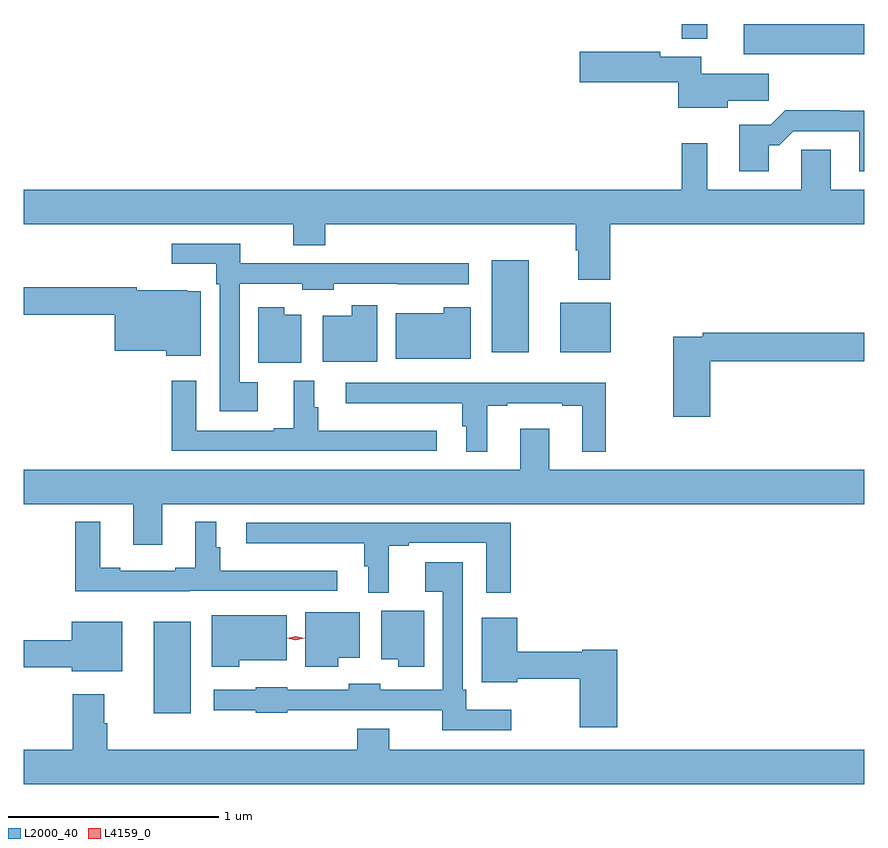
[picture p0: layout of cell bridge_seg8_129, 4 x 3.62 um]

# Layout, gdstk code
import gdstk
lib = gdstk.Library(unit=1e-6, precision=1e-09)
def R(c, l, rs):  # rectangles x0, y0, x1, y1
    for r in rs: c.add(gdstk.rectangle(r[:2], r[2:], *l))
def P(c, l, *ps):  # polygons
    for p in ps: c.add(gdstk.Polygon(p, *l))
L2000_40 = (2000, 40)
L4159_0 = (4159, 0)

bridge_seg8_129 = lib.new_cell('bridge_seg8_129')
R(bridge_seg8_129, L2000_40, [(853.952,1123.496,854.128,1123.933), (855.56,1125.215,855.736,1125.652), (855.887,1125.215,856.126,1125.451), (856.76,1126.634,857.333,1126.777), (856.464,1126.707,856.585,1126.777)])
P(bridge_seg8_129, L2000_40, [(856.684,1126.411),(856.879,1126.411),(856.879,1126.54),(856.558,1126.54),(856.558,1126.621),(856.362,1126.621),(856.362,1126.646),(855.978,1126.646),(855.978,1126.499),(856.448,1126.499),(856.448,1126.379),(856.684,1126.379)],
  [(856.879,1126.199),(856.928,1126.199),(856.995,1126.266),(857.309,1126.266),(857.309,1126.077),(857.333,1126.077),(857.333,1126.364),(857.213,1126.364),(857.213,1126.367),(856.958,1126.367),(856.888,1126.297),(856.739,1126.297),(856.739,1126.077),(856.879,1126.077)],
  [(856.124,1125.824),(857.333,1125.824),(857.333,1125.988),(857.173,1125.988),(857.173,1126.178),(857.034,1126.178),(857.034,1125.988),(856.585,1125.988),(856.585,1126.21),(856.464,1126.21),(856.464,1125.988),(853.333,1125.988),(853.333,1125.824),(854.615,1125.824),(854.615,1125.725),(854.768,1125.725),(854.768,1125.824),(855.959,1125.824),(855.959,1125.701),(855.971,1125.701),(855.971,1125.561),(856.124,1125.561)],
  [(854.446,1125.073),(854.361,1125.073),(854.361,1125.54),(854.658,1125.54),(854.658,1125.512),(854.808,1125.512),(854.808,1125.54),(855.112,1125.54),(855.112,1125.539),(855.451,1125.539),(855.451,1125.638),(854.364,1125.638),(854.364,1125.732),(854.037,1125.732),(854.037,1125.636),(854.249,1125.636),(854.249,1125.539),(854.265,1125.539),(854.265,1124.933),(854.446,1124.933)],
  [(854.176,1125.401),(854.175,1125.401),(854.175,1125.504),(854.112,1125.504),(854.112,1125.511),(853.87,1125.511),(853.87,1125.523),(853.333,1125.523),(853.333,1125.394),(853.766,1125.394),(853.766,1125.221),(854.01,1125.221),(854.01,1125.197),(854.176,1125.197)],
  [(855.016,1125.439),(854.894,1125.439),(854.894,1125.388),(854.756,1125.388),(854.756,1125.17),(855.016,1125.17)],
  [(855.46,1125.43),(855.331,1125.43),(855.331,1125.4),(855.104,1125.4),(855.104,1125.185),(855.46,1125.185)],
  [(854.653,1125.394),(854.572,1125.394),(854.572,1125.43),(854.45,1125.43),(854.45,1125.164),(854.653,1125.164)],
  [(856.601,1125.172),(857.333,1125.172),(857.333,1125.308),(856.564,1125.308),(856.564,1125.288),(856.423,1125.288),(856.423,1124.907),(856.601,1124.907)],
  [(855.298,1124.842),(854.735,1124.842),(854.735,1124.952),(854.716,1124.952),(854.716,1125.079),(854.618,1125.079),(854.618,1124.854),(854.522,1124.854),(854.522,1124.841),(854.154,1124.841),(854.154,1125.079),(854.038,1125.079),(854.038,1124.745),(855.298,1124.745)],
  [(855.538,1124.961),(855.634,1124.961),(855.634,1124.973),(855.896,1124.973),(855.896,1124.961),(855.992,1124.961),(855.992,1124.741),(856.102,1124.741),(856.102,1125.07),(855.564,1125.07),(855.564,1125.069),(854.865,1125.069),(854.865,1124.972),(855.421,1124.972),(855.421,1124.862),(855.44,1124.862),(855.44,1124.741),(855.538,1124.741)],
  [(853.993,1124.492),(857.333,1124.492),(857.333,1124.656),(855.835,1124.656),(855.835,1124.851),(855.695,1124.851),(855.695,1124.656),(853.333,1124.656),(853.333,1124.492),(853.853,1124.492),(853.853,1124.298),(853.993,1124.298)],
  [(854.124,1124.079),(854.824,1124.079),(854.824,1124.176),(854.267,1124.176),(854.267,1124.286),(854.248,1124.286),(854.248,1124.407),(854.15,1124.407),(854.15,1124.188),(854.054,1124.188),(854.054,1124.175),(853.792,1124.175),(853.792,1124.188),(853.696,1124.188),(853.696,1124.407),(853.579,1124.407),(853.579,1124.078),(854.124,1124.078)],
  [(855.07,1124.295),(855.166,1124.295),(855.166,1124.307),(855.534,1124.307),(855.534,1124.07),(855.65,1124.07),(855.65,1124.403),(854.391,1124.403),(854.391,1124.306),(854.953,1124.306),(854.953,1124.196),(854.972,1124.196),(854.972,1124.07),(855.07,1124.07)],
  [(855.652,1123.513),(855.44,1123.513),(855.44,1123.609),(855.423,1123.609),(855.423,1124.215),(855.243,1124.215),(855.243,1124.075),(855.327,1124.075),(855.327,1123.608),(855.03,1123.608),(855.03,1123.636),(854.88,1123.636),(854.88,1123.608),(854.586,1123.608),(854.586,1123.621),(854.436,1123.621),(854.436,1123.608),(854.238,1123.608),(854.238,1123.511),(854.436,1123.511),(854.436,1123.499),(854.586,1123.499),(854.586,1123.511),(855.325,1123.511),(855.325,1123.416),(855.652,1123.416)],
  [(855.238,1123.984),(855.035,1123.984),(855.035,1123.754),(855.116,1123.754),(855.116,1123.718),(855.238,1123.718)],
  [(854.829,1123.76),(854.932,1123.76),(854.932,1123.978),(854.672,1123.978),(854.672,1123.718),(854.829,1123.718)],
  [(854.358,1123.748),(854.584,1123.748),(854.584,1123.963),(854.228,1123.963),(854.228,1123.718),(854.358,1123.718)],
  [(856.157,1123.798),(855.99,1123.798),(855.99,1123.79),(855.682,1123.79),(855.682,1123.951),(855.512,1123.951),(855.512,1123.747),(855.513,1123.747),(855.513,1123.644),(855.682,1123.644),(855.682,1123.662),(855.979,1123.662),(855.979,1123.431),(856.157,1123.431)],
  [(853.801,1123.933),(853.562,1123.933),(853.562,1123.844),(853.333,1123.844),(853.333,1123.716),(853.562,1123.716),(853.562,1123.697),(853.801,1123.697)],
  [(857.333,1123.324),(855.073,1123.324),(855.073,1123.423),(854.921,1123.423),(854.921,1123.324),(853.73,1123.324),(853.73,1123.448),(853.717,1123.448),(853.717,1123.588),(853.565,1123.588),(853.565,1123.324),(853.333,1123.324),(853.333,1123.16),(857.333,1123.16)])
P(bridge_seg8_129, L4159_0, [(854.628,1123.843),(854.588,1123.853),(854.588,1123.854),(854.588,1123.854),(854.628,1123.863),(854.668,1123.853),(854.668,1123.853),(854.668,1123.853)])

lib.write_gds('bridge_seg8_129.gds')
